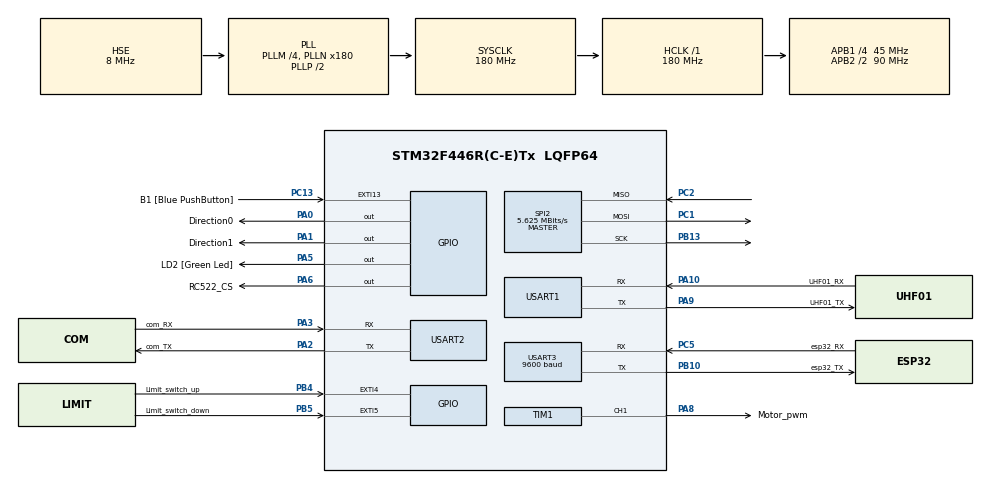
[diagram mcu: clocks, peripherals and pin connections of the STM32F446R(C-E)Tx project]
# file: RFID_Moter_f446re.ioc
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Dma.Request0=USART1_RX
Dma.Request1=USART2_RX
Dma.USART1_RX.0.Direction=DMA_PERIPH_TO_MEMORY
Dma.USART1_RX.0.FIFOMode=DMA_FIFOMODE_DISABLE
Dma.USART1_RX.0.Instance=DMA2_Stream5
Dma.USART1_RX.0.MemDataAlignment=DMA_MDATAALIGN_BYTE
Dma.USART1_RX.0.MemInc=DMA_MINC_ENABLE
Dma.USART1_RX.0.Mode=DMA_CIRCULAR
Dma.USART1_RX.0.PeriphDataAlignment=DMA_PDATAALIGN_BYTE
Dma.USART1_RX.0.PeriphInc=DMA_PINC_DISABLE
Dma.USART1_RX.0.Priority=DMA_PRIORITY_LOW
Dma.USART2_RX.1.Direction=DMA_PERIPH_TO_MEMORY
Dma.USART2_RX.1.FIFOMode=DMA_FIFOMODE_DISABLE
Dma.USART2_RX.1.Instance=DMA1_Stream5
Dma.USART2_RX.1.MemDataAlignment=DMA_MDATAALIGN_BYTE
Dma.USART2_RX.1.MemInc=DMA_MINC_ENABLE
Dma.USART2_RX.1.Mode=DMA_NORMAL
Dma.USART2_RX.1.PeriphDataAlignment=DMA_PDATAALIGN_BYTE
Dma.USART2_RX.1.PeriphInc=DMA_PINC_DISABLE
Dma.USART2_RX.1.Priority=DMA_PRIORITY_LOW
FREERTOS.Tasks01=defaultTask,0,128,StartDefaultTask,Default,NULL,Dynamic,NULL,NULL;rfidExecuteTask,0,128,StartRfidExecuteTask,Default,NULL,Dynamic,NULL,NULL;tagNumTransmitT,0,128,StartTagNumTransmitTask,Default,NULL,Dynamic,NULL,NULL;rc522_read,0,128,rc522_readTask,Default,NULL,Dynamic,NULL,NULL;motorTask,0,128,controlmotor,Default,NULL,Dynamic,NULL,NULL;transmitTask2,0,128,StarttransmitTask2,Default,NULL,Dynamic,NULL,NULL
FREERTOS.configUSE_NEWLIB_REENTRANT=1
Mcu.Family=STM32F4
Mcu.Name=STM32F446R(C-E)Tx
Mcu.Package=LQFP64
NVIC.DMA1_Stream5_IRQn=true\:5\:0\:false\:false\:true\:true\:false\:true\:true
NVIC.DMA2_Stream5_IRQn=true\:5\:0\:false\:false\:true\:false\:false\:true\:true
NVIC.EXTI4_IRQn=true\:5\:0\:false\:false\:true\:true\:true\:true\:true
NVIC.EXTI9_5_IRQn=true\:5\:0\:false\:false\:true\:true\:true\:true\:true
NVIC.PriorityGroup=NVIC_PRIORITYGROUP_4
NVIC.SPI2_IRQn=true\:5\:0\:false\:false\:true\:true\:true\:true\:true
NVIC.TIM4_IRQn=true\:15\:0\:false\:false\:true\:false\:false\:true\:true
NVIC.TimeBase=TIM4_IRQn
NVIC.TimeBaseIP=TIM4
NVIC.USART1_IRQn=true\:5\:0\:false\:false\:true\:true\:true\:true\:true
NVIC.USART3_IRQn=true\:5\:0\:false\:false\:true\:true\:true\:true\:true
PA0-WKUP.GPIO_Label=Direction0
PA0-WKUP.GPIO_PuPd=GPIO_PULLUP
PA0-WKUP.Signal=GPIO_Output
PA1.GPIO_Label=Direction1
PA1.GPIO_PuPd=GPIO_PULLUP
PA1.Signal=GPIO_Output
PA10.GPIO_Label=UHF01_RX
PA10.Mode=Asynchronous
PA10.Signal=USART1_RX
PA13.GPIO_Label=TMS
PA13.Mode=Trace_Asynchronous_SW
PA13.Signal=SYS_JTMS-SWDIO
PA14.GPIO_Label=TCK
PA14.Mode=Trace_Asynchronous_SW
PA14.Signal=SYS_JTCK-SWCLK
PA2.GPIO_Label=com_TX
PA2.Mode=Asynchronous
PA2.Signal=USART2_TX
PA3.GPIO_Label=com_RX
PA3.Mode=Asynchronous
PA3.Signal=USART2_RX
PA5.GPIO_Label=LD2 [Green Led]
PA5.Signal=GPIO_Output
PA6.GPIO_Label=RC522_CS
PA6.Signal=GPIO_Output
PA8.GPIO_Label=Motor_pwm
PA8.Signal=S_TIM1_CH1
PA9.GPIO_Label=UHF01_TX
PA9.Mode=Asynchronous
PA9.Signal=USART1_TX
PB10.GPIO_Label=esp32_TX
PB10.Mode=Asynchronous
PB10.Signal=USART3_TX
PB13.Mode=Full_Duplex_Master
PB13.Signal=SPI2_SCK
PB3.GPIO_Label=SWO
PB3.Mode=Trace_Asynchronous_SW
PB3.Signal=SYS_JTDO-SWO
PB4.GPIO_Label=Limit_switch_up
PB4.GPIO_PuPd=GPIO_PULLUP
PB4.Signal=GPXTI4
PB5.GPIO_Label=Limit_switch_down
PB5.GPIO_PuPd=GPIO_PULLUP
PB5.Signal=GPXTI5
PC1.Mode=Full_Duplex_Master
PC1.Signal=SPI2_MOSI
PC13.GPIO_Label=B1 [Blue PushButton]
PC13.GPIO_ModeDefaultEXTI=GPIO_MODE_IT_FALLING
PC13.Signal=GPXTI13
PC14-OSC32_IN.Mode=LSE-External-Oscillator
PC14-OSC32_IN.Signal=RCC_OSC32_IN
PC15-OSC32_OUT.Mode=LSE-External-Oscillator
PC15-OSC32_OUT.Signal=RCC_OSC32_OUT
PC2.Mode=Full_Duplex_Master
PC2.Signal=SPI2_MISO
PC5.GPIO_Label=esp32_RX
PC5.Mode=Asynchronous
PC5.Signal=USART3_RX
PH0-OSC_IN.Mode=HSE-External-Oscillator
PH0-OSC_IN.Signal=RCC_OSC_IN
PH1-OSC_OUT.Mode=HSE-External-Oscillator
PH1-OSC_OUT.Signal=RCC_OSC_OUT
ProjectManager.HeapSize=0x200
ProjectManager.StackSize=0x400
ProjectManager.TargetToolchain=STM32CubeIDE
RCC.48MHZClocksFreq_Value=84000000
RCC.AHBFreq_Value=180000000
RCC.APB1CLKDivider=RCC_HCLK_DIV4
RCC.APB1Freq_Value=45000000
RCC.APB1TimFreq_Value=90000000
RCC.APB2CLKDivider=RCC_HCLK_DIV2
RCC.APB2Freq_Value=90000000
RCC.APB2TimFreq_Value=180000000
RCC.CortexFreq_Value=180000000
RCC.FLatency-AdvancedSettings=FLASH_LATENCY_5
RCC.HCLKFreq_Value=180000000
RCC.HSE_VALUE=8000000
RCC.HSI_VALUE=16000000
RCC.PLLM=4
RCC.PLLN=180
RCC.PLLSourceVirtual=RCC_PLLSOURCE_HSE
RCC.SYSCLKFreq_VALUE=180000000
RCC.SYSCLKSource=RCC_SYSCLKSOURCE_PLLCLK
RCC.USBFreq_Value=180000000
RCC.VCOOutputFreq_Value=360000000
SH.S_TIM1_CH1.0=TIM1_CH1,PWM Generation1 CH1
SPI2.BaudRatePrescaler=SPI_BAUDRATEPRESCALER_8
SPI2.CalculateBaudRate=5.625 MBits/s
SPI2.Direction=SPI_DIRECTION_2LINES
SPI2.Mode=SPI_MODE_MASTER
SPI2.VirtualType=VM_MASTER
TIM1.Channel-PWM\ Generation1\ CH1=TIM_CHANNEL_1
TIM1.Period=1000
TIM1.Prescaler=180-1
USART1.VirtualMode=VM_ASYNC
USART2.VirtualMode=VM_ASYNC
USART3.BaudRate=9600
USART3.VirtualMode=VM_ASYNC
VP_FREERTOS_VS_CMSIS_V1.Mode=CMSIS_V1
VP_SYS_VS_tim4.Mode=TIM4
board=NUCLEO-F446RE

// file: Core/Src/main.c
/* USER CODE BEGIN Header */
/**
  ******************************************************************************
  * @file           : main.c
  * @brief          : Main program body
  ******************************************************************************
  * @attention
  *
  * Copyright (c) 2024 STMicroelectronics.
  * All rights reserved.
  *
  * This software is licensed under terms that can be found in the LICENSE file
  * in the root directory of this software component.
  * If no LICENSE file comes with this software, it is provided AS-IS.
  *
  ******************************************************************************
  */
/* USER CODE END Header */
#include "main.h"
#include "cmsis_os.h"
#include "dma.h"
#include "spi.h"
#include "tim.h"
#include "usart.h"
#include "gpio.h"

/* USER CODE BEGIN Includes */
#include "rc522.h"
#include "uart_receive_dma.h"
#include "scan_motor.h"
#include "stm32f4xx_hal_spi.h"
/* USER CODE END Includes */

/* USER CODE BEGIN PV */
extern int limit_switch_up;
extern int limit_switch_down;
/* USER CODE END PV */

void SystemClock_Config(void);
void MX_FREERTOS_Init(void);

/* USER CODE BEGIN 0 */
extern SPI_HandleTypeDef hspi2;
uint8_t rc522_rx_buf[100];
uint8_t cardstr[17];

void HAL_GPIO_EXTI_Callback(uint16_t GPIO_Pin){
	static uint32_t before_tick1 = 0;
	static uint32_t before_tick2 = 0;

	if(GPIO_Pin == Limit_switch_up_Pin){
		if(HAL_GetTick() - before_tick1 >= 300){
			before_tick1 = HAL_GetTick();
			limit_switch_up = 1;
		}
	}else if(GPIO_Pin == Limit_switch_down_Pin){
		if(HAL_GetTick() - before_tick2 >= 300){
			before_tick2 = HAL_GetTick();
			limit_switch_down = 1;
		}
	}
}

/* USER CODE END 0 */

int main(void)
{

  /* MCU Configuration--------------------------------------------------------*/

  /* Reset of all peripherals, Initializes the Flash interface and the Systick. */
  HAL_Init();

  /* Configure the system clock */
  SystemClock_Config();

  /* Initialize all configured peripherals */
  MX_GPIO_Init();
  MX_DMA_Init();
  MX_USART2_UART_Init();
  MX_USART1_UART_Init();
  MX_USART3_UART_Init();
  MX_SPI2_Init();
  MX_TIM1_Init();
  /* USER CODE BEGIN 2 */
  uart_init();
  uart2_init();
  MFRC522_Init();
  HAL_TIM_PWM_Start(&htim1, TIM_CHANNEL_1);
  HAL_GPIO_WritePin(Direction0_GPIO_Port, Direction0_Pin, GPIO_PIN_SET);
  HAL_GPIO_WritePin(Direction1_GPIO_Port, Direction1_Pin, GPIO_PIN_RESET);
//  HAL_SPI_Receive_IT(&hspi2,rc522_rx_buf,sizeof(rc522_rx_buf));

  /* USER CODE END 2 */

  /* Call init function for freertos objects (in freertos.c) */
  MX_FREERTOS_Init();

  /* Start scheduler */
  osKernelStart();

  /* We should never get here as control is now taken by the scheduler */
  /* Infinite loop */
  while (1)
  {

  }
}

void SystemClock_Config(void)
{
  RCC_OscInitTypeDef RCC_OscInitStruct = {0};
  RCC_ClkInitTypeDef RCC_ClkInitStruct = {0};

  /** Configure the main internal regulator output voltage
  */
  __HAL_RCC_PWR_CLK_ENABLE();
  __HAL_PWR_VOLTAGESCALING_CONFIG(PWR_REGULATOR_VOLTAGE_SCALE1);

  /** Initializes the RCC Oscillators according to the specified parameters
  * in the RCC_OscInitTypeDef structure.
  */
  RCC_OscInitStruct.OscillatorType = RCC_OSCILLATORTYPE_HSE;
  RCC_OscInitStruct.HSEState = RCC_HSE_ON;
  RCC_OscInitStruct.PLL.PLLState = RCC_PLL_ON;
  RCC_OscInitStruct.PLL.PLLSource = RCC_PLLSOURCE_HSE;
  RCC_OscInitStruct.PLL.PLLM = 4;
  RCC_OscInitStruct.PLL.PLLN = 180;
  RCC_OscInitStruct.PLL.PLLP = RCC_PLLP_DIV2;
  RCC_OscInitStruct.PLL.PLLQ = 2;
  RCC_OscInitStruct.PLL.PLLR = 2;
  if (HAL_RCC_OscConfig(&RCC_OscInitStruct) != HAL_OK)
  {
    Error_Handler();
  }

  /** Activate the Over-Drive mode
  */
  if (HAL_PWREx_EnableOverDrive() != HAL_OK)
  {
    Error_Handler();
  }

  /** Initializes the CPU, AHB and APB buses clocks
  */
  RCC_ClkInitStruct.ClockType = RCC_CLOCKTYPE_HCLK|RCC_CLOCKTYPE_SYSCLK
                              |RCC_CLOCKTYPE_PCLK1|RCC_CLOCKTYPE_PCLK2;
  RCC_ClkInitStruct.SYSCLKSource = RCC_SYSCLKSOURCE_PLLCLK;
  RCC_ClkInitStruct.AHBCLKDivider = RCC_SYSCLK_DIV1;
  RCC_ClkInitStruct.APB1CLKDivider = RCC_HCLK_DIV4;
  RCC_ClkInitStruct.APB2CLKDivider = RCC_HCLK_DIV2;

  if (HAL_RCC_ClockConfig(&RCC_ClkInitStruct, FLASH_LATENCY_5) != HAL_OK)
  {
    Error_Handler();
  }
}

/* USER CODE BEGIN 4 */
//HAL_SPI_RxCpltCallback(SPI_HandleTypeDef *hspi){
//	HAL_UART_Transmit(&huart2, rc522_rx_buf,sizeof(rc522_rx_buf) , 500);
//}

/* USER CODE END 4 */

void HAL_TIM_PeriodElapsedCallback(TIM_HandleTypeDef *htim)
{
  if (htim->Instance == TIM4) {
    HAL_IncTick();
  }
}

void Error_Handler(void)
{
  __disable_irq();
  while (1)
  {
  }
}

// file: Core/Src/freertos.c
/* USER CODE BEGIN Header */
/**
  ******************************************************************************
  * File Name          : freertos.c
  * Description        : Code for freertos applications
  ******************************************************************************
  * @attention
  *
  * Copyright (c) 2024 STMicroelectronics.
  * All rights reserved.
  *
  * This software is licensed under terms that can be found in the LICENSE file
  * in the root directory of this software component.
  * If no LICENSE file comes with this software, it is provided AS-IS.
  *
  ******************************************************************************
  */
/* USER CODE END Header */

#include "FreeRTOS.h"
#include "task.h"
#include "main.h"
#include "cmsis_os.h"

/* USER CODE BEGIN Includes */
#include "uart_receive_dma.h"
#include "usart.h"
#include "rc522.h"
#include "scan_motor.h"
/* USER CODE END Includes */

/* USER CODE BEGIN Variables */
extern UART_HandleTypeDef huart1;
extern UART_HandleTypeDef huart2;
extern queue8_t uart_queue;

extern TIM_HandleTypeDef htim1;
#define transmitSignal 0x0001
#define transmitSignal2 0x0002

uint8_t canTxData[8];
uint32_t	TxMailBox;
int motor_status = 0;
/* USER CODE END Variables */
osThreadId defaultTaskHandle;
osThreadId rfidExecuteTaskHandle;
osThreadId tagNumTransmitTHandle;
osThreadId rc522_readHandle;
osThreadId motorTaskHandle;
osThreadId transmitTask2Handle;

void StartDefaultTask(void const * argument);
void StartRfidExecuteTask(void const * argument);
void StartTagNumTransmitTask(void const * argument);
void rc522_readTask(void const * argument);
void controlmotor(void const * argument);
void StarttransmitTask2(void const * argument);

void MX_FREERTOS_Init(void); /* (MISRA C 2004 rule 8.1) */

/* GetIdleTaskMemory prototype (linked to static allocation support) */
void vApplicationGetIdleTaskMemory( StaticTask_t **ppxIdleTaskTCBBuffer, StackType_t **ppxIdleTaskStackBuffer, uint32_t *pulIdleTaskStackSize );

/* USER CODE BEGIN GET_IDLE_TASK_MEMORY */
static StaticTask_t xIdleTaskTCBBuffer;
static StackType_t xIdleStack[configMINIMAL_STACK_SIZE];

void vApplicationGetIdleTaskMemory( StaticTask_t **ppxIdleTaskTCBBuffer, StackType_t **ppxIdleTaskStackBuffer, uint32_t *pulIdleTaskStackSize )
{
  *ppxIdleTaskTCBBuffer = &xIdleTaskTCBBuffer;
  *ppxIdleTaskStackBuffer = &xIdleStack[0];
  *pulIdleTaskStackSize = configMINIMAL_STACK_SIZE;
  /* place for user code */
}
/* USER CODE END GET_IDLE_TASK_MEMORY */

void MX_FREERTOS_Init(void) {

  /* Create the thread(s) */
  /* definition and creation of defaultTask */
  osThreadDef(defaultTask, StartDefaultTask, osPriorityNormal, 0, 128);
  defaultTaskHandle = osThreadCreate(osThread(defaultTask), NULL);

  /* definition and creation of rfidExecuteTask */
  osThreadDef(rfidExecuteTask, StartRfidExecuteTask, osPriorityNormal, 0, 128);
  rfidExecuteTaskHandle = osThreadCreate(osThread(rfidExecuteTask), NULL);

  /* definition and creation of tagNumTransmitT */
  osThreadDef(tagNumTransmitT, StartTagNumTransmitTask, osPriorityNormal, 0, 128);
  tagNumTransmitTHandle = osThreadCreate(osThread(tagNumTransmitT), NULL);

  /* definition and creation of rc522_read */
  osThreadDef(rc522_read, rc522_readTask, osPriorityNormal, 0, 128);
  rc522_readHandle = osThreadCreate(osThread(rc522_read), NULL);

  /* definition and creation of motorTask */
  osThreadDef(motorTask, controlmotor, osPriorityNormal, 0, 128);
  motorTaskHandle = osThreadCreate(osThread(motorTask), NULL);

  /* definition and creation of transmitTask2 */
  osThreadDef(transmitTask2, StarttransmitTask2, osPriorityNormal, 0, 128);
  transmitTask2Handle = osThreadCreate(osThread(transmitTask2), NULL);

}

void StartDefaultTask(void const * argument)
{
  /* USER CODE BEGIN StartDefaultTask */
  /* Infinite loop */
  for(;;)
  {
	read_rfid_number();
	read_command();
    osDelay(1);
  }
  /* USER CODE END StartDefaultTask */
}

void StartRfidExecuteTask(void const * argument)
{
  /* USER CODE BEGIN StartRfidExecuteTask */
	  uint8_t read_tag_single_time[] = {0xBB, 0x00, 0x22, 0x00, 0x00, 0x22, 0x7E};
	  vTaskSuspend(rfidExecuteTaskHandle);
	  /* Infinite loop */
	  for(;;)
	  {
		HAL_UART_Transmit(&huart1, read_tag_single_time, sizeof(read_tag_single_time), HAL_MAX_DELAY);
		//vTaskResume(defaultTaskHandle);
	    osDelay(300);
	  }
  /* USER CODE END StartRfidExecuteTask */
}

void StartTagNumTransmitTask(void const * argument)
{
  /* USER CODE BEGIN StartTagNumTransmitTask */
  /* Infinite loop */
  osEvent event;
  for(;;)
  {
	event = osSignalWait(transmitSignal, 100);
	if(event.value.signals == transmitSignal){
		transmitData();
		}
  osDelay(1);
  }

  /* USER CODE END StartTagNumTransmitTask */
}

void rc522_readTask(void const * argument)
{
  /* USER CODE BEGIN rc522_readTask */
  uint8_t status,cardstr[16] = {0,};

  /* Infinite loop */
  for(;;)
  {

	if(MFRC522_Request(PICC_REQIDL, cardstr) == MI_OK){
		status = MFRC522_Anticoll(cardstr);
		if(status == MI_OK){
			HAL_UART_Transmit(&huart2, cardstr, 5, 500);
		}
	}
	osDelay(300);
  }
  /* USER CODE END rc522_readTask */
}

void controlmotor(void const * argument)
{
  /* USER CODE BEGIN controlmotor */
  /* Infinite loop */
	vTaskSuspend(motorTaskHandle);
  /* Infinite loop */
  for(;;)
  {
	  if(motor_status == 0){
		  scan_motor_up();
	  }else if(motor_status == 1){
		  scan_motor_down();
	  }
  }
  /* USER CODE END controlmotor */
}

void StarttransmitTask2(void const * argument)
{
  /* USER CODE BEGIN StarttransmitTask2 */
	osEvent event;
  /* Infinite loop */
	  for(;;)
	  {
		  event = osSignalWait(transmitSignal2, 100);
		  if(event.value.signals == transmitSignal2){
			  transmitCommand();
		  }
		  osDelay(1);
	  }
  /* USER CODE END StarttransmitTask2 */
}
